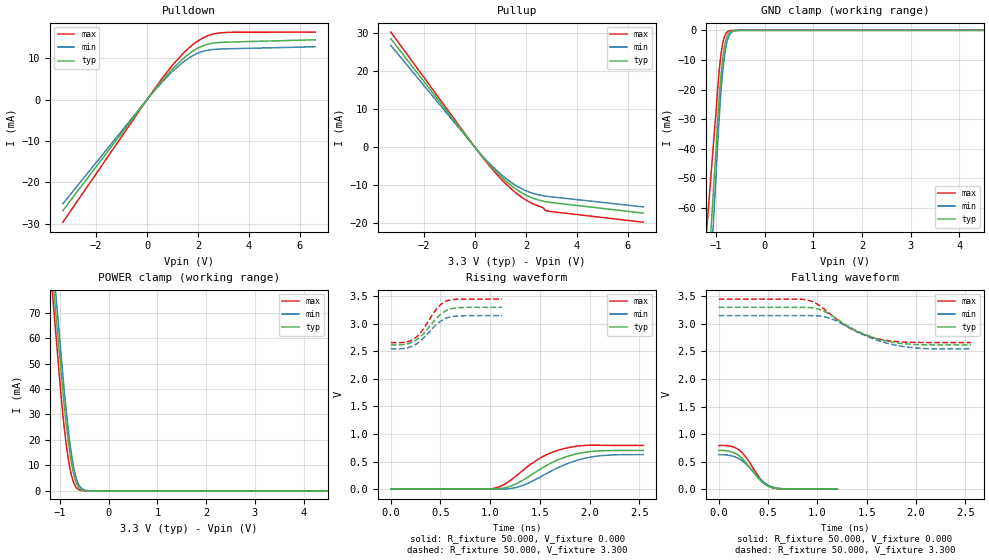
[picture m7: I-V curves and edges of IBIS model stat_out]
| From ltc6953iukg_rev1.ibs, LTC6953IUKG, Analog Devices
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[Model]   stat_out
Model_type Output
Vref=0.000E+00
Rref=1.000E+06
Cref=0.000E-12
Vmeas=1.650E+00
C_comp   4.040E-13   3.700E-13   4.380E-13
[Voltage Range]   3.300E+00   3.150E+00   3.450E+00
[POWER Clamp Reference]   3.300E+00   3.150E+00   3.450E+00
[GND Clamp Reference]   0.000E+00   0.000E+00   0.000E+00
[Pullup Reference]   3.300E+00   3.150E+00   3.450E+00
[Pulldown Reference]   0.000E+00   0.000E+00   0.000E+00
[Temperature Range]   25   125   -40
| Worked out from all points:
|   slope of the pulldown table from 0 to 0.495 V, typ, clamps not added: 129 ohm
|   slope of the pullup table from 0 to 0.495 V, typ, clamps not added: 125 ohm
|   GND clamp passes 1 mA (typ) near -0.74 V on its own axis
|   POWER clamp passes 1 mA (typ) near -0.60 V on its own axis
|   rising waveform, R_fixture 50.000, V_fixture 0.000: 20-80 % time 419ps typ, 432ps min, 376ps max; typ from 0 V to 0.703 V
|   falling waveform, R_fixture 50.000, V_fixture 0.000: 20-80 % time 197ps typ, 210ps min, 186ps max; typ from 0.703 V to 0 V
|   rising waveform, R_fixture 50.000, V_fixture 3.300: 20-80 % time 205ps typ, 205ps min, 182ps max; typ from 2.62 V to 3.3 V
|   falling waveform, R_fixture 50.000, V_fixture 3.300: 20-80 % time 431ps typ, 451ps min, 401ps max; typ from 3.3 V to 2.62 V
[GND Clamp]
-3.3V     -651.4mA   -731.4mA   -510.1mA
-1.02V    -46.27mA   -55.85mA   -32.24mA
-940mV    -24.78mA   -31.9mA    -15.22mA
-920mV    -20.16mA   -26.66mA   -11.74mA
-880mV    -12.62mA   -17.78mA   -6.389mA
-860mV    -9.648mA   -14.14mA   -4.486mA
-820mV    -5.214mA   -8.395mA   -1.982mA
-780mV    -2.521mA   -4.552mA   -755.1uA
-740mV    -1.09mA    -2.237mA   -246.5uA
-680mV    -271.1uA   -660.7uA   -30.07uA
-500mV    0A         0A         0A
6.6V      0A         0A         0A
[Power Clamp]
-3.3V     541.5mA    564.4mA    560.7mA
-1.06V    64.28mA    71.57mA    55.85mA
-940mV    38.61mA    45.09mA    29.72mA
-880mV    27.41mA    32.84mA    19.41mA
-820mV    18.07mA    22.33mA    11.35mA
-780mV    12.75mA    16.37mA    7.298mA
-720mV    6.716mA    9.296mA    3.288mA
-660mV    2.897mA    4.544mA    1.152mA
-600mV    1.005mA    1.924mA    326.3uA
-500mV    120.6uA    351.7uA    73.85uA
-320mV    0A         0A         0A
6.6V      0A         0A         0A
[Pullup]
-3.3V     28.6mA     26.87mA    30.37mA
300mV     -2.47mA    -2.307mA   -2.622mA
620mV     -4.91mA    -4.6mA     -5.267mA
1.04V     -7.798mA   -7.241mA   -8.444mA
1.62V     -11.04mA   -10.13mA   -12.08mA
1.86V     -12.07mA   -11.02mA   -13.28mA
2.28V     -13.42mA   -12.14mA   -14.89mA
2.66V     -14.16mA   -12.72mA   -15.86mA
2.78V     -14.32mA   -12.85mA   -16.67mA
6.6V      -17.32mA   -15.68mA   -19.72mA
[Pulldown]
-3.3V     -26.8mA    -25.14mA   -29.6mA
0V        0A         0A         0A
500mV     3.887mA    3.596mA    4.333mA
1.02V     7.541mA    6.933mA    8.455mA
1.44V     10.03mA    9.161mA    11.31mA
1.88V     12.03mA    10.88mA    13.67mA
2.4V      13.4mA     11.95mA    15.5mA
2.84V     13.8mA     12.21mA    16.09mA
3.2V      13.89mA    12.27mA    16.26mA
6.6V      14.44mA    12.76mA    16.3mA
[Rising Waveform]
R_fixture = 50.000
V_fixture = 0.000
V_fixture_min = 0.000
V_fixture_max = 0.000
|  time   V(typ)   V(min)   V(max)
0s        0V         0V         0V
1.02ns    2.111mV    -380.5uV   9.48mV
1.14ns    21.79mV    1.773mV    83.59mV
1.28ns    112.8mV    38.26mV    266.9mV
1.5ns     358.4mV    216.2mV    561.4mV
1.7ns     544.3mV    404.1mV    714.5mV
1.86ns    635.6mV    515.5mV    776.3mV
2.04ns    687mV      589.7mV    797.4mV
2.24ns    700.5mV    621.1mV    793.3mV
2.54ns    702.7mV    626.9mV    792.7mV
[Falling Waveform]
R_fixture = 50.000
V_fixture = 0.000
V_fixture_min = 0.000
V_fixture_max = 0.000
|  time   V(typ)   V(min)   V(max)
0s        702.7mV    626.9mV    792.7mV
120ps     682.7mV    609.4mV    779.5mV
220ps     586.5mV    537.4mV    689.9mV
280ps     474.8mV    451.4mV    568.9mV
380ps     241.4mV    258.7mV    293.5mV
440ps     126.3mV    151.4mV    151.1mV
480ps     73.53mV    96.76mV    85.03mV
540ps     28.23mV    43.52mV    28.8mV
700ps     1.645mV    4.171mV    758.8uV
1.2ns     0V         0V         0V
[Rising Waveform]
R_fixture = 50.000
V_fixture = 3.300
V_fixture_min = 3.150
V_fixture_max = 3.450
|  time   V(typ)   V(min)   V(max)
0s        2.617V     2.546V     2.66V
160ps     2.635V     2.562V     2.672V
240ps     2.69V      2.616V     2.735V
320ps     2.805V     2.727V     2.888V
460ps     3.102V     2.989V     3.27V
500ps     3.172V     3.048V     3.347V
560ps     3.244V     3.106V     3.416V
620ps     3.279V     3.132V     3.442V
700ps     3.295V     3.144V     3.449V
1.12ns    3.3V       3.15V      3.45V
[Falling Waveform]
R_fixture = 50.000
V_fixture = 3.300
V_fixture_min = 3.150
V_fixture_max = 3.450
|  time   V(typ)   V(min)   V(max)
0s        3.3V       3.15V      3.45V
880ps     3.298V     3.15V      3.439V
980ps     3.281V     3.148V     3.378V
1.1ns     3.2V       3.116V     3.224V
1.24ns    3.041V     3.011V     3.024V
1.34ns    2.93V      2.915V     2.912V
1.58ns    2.745V     2.72V      2.744V
1.76ns    2.668V     2.626V     2.685V
1.98ns    2.627V     2.565V     2.665V
2.56ns    2.617V     2.546V     2.66V
[Ramp]
dV/dt_r   4.2224E-01/4.1715E-10   3.7641E-01/4.3192E-10   4.7604E-01/3.7459E-10
dV/dt_f   4.0977E-01/4.2990E-10   3.6217E-01/4.5031E-10   4.7394E-01/4.0060E-10
R_load = 50
